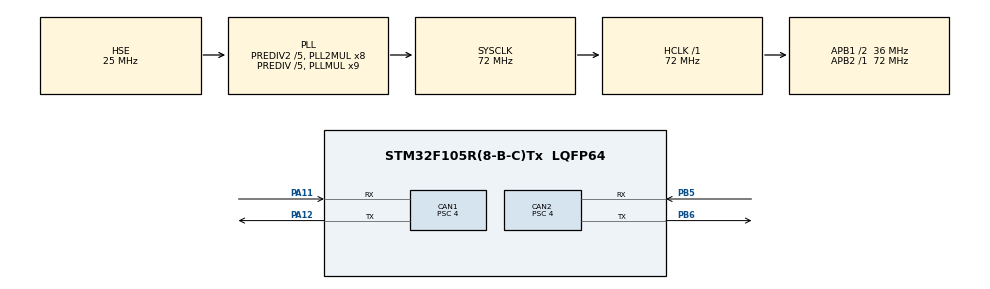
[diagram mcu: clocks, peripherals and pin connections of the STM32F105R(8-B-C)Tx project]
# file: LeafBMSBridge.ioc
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CAN1.ABOM=ENABLE
CAN1.AWUM=ENABLE
CAN1.BS1=CAN_BS1_15TQ
CAN1.BS2=CAN_BS2_2TQ
CAN1.CalculateBaudRate=500000
CAN1.CalculateTimeBit=2000
CAN1.CalculateTimeQuantum=111.11111111111111
CAN1.Mode=CAN_MODE_NORMAL
CAN1.NART=ENABLE
CAN1.Prescaler=4
CAN1.TXFP=ENABLE
CAN2.ABOM=ENABLE
CAN2.AWUM=ENABLE
CAN2.BS1=CAN_BS1_15TQ
CAN2.BS2=CAN_BS2_2TQ
CAN2.CalculateBaudRate=500000
CAN2.CalculateTimeBit=2000
CAN2.CalculateTimeQuantum=111.11111111111111
CAN2.Mode=CAN_MODE_NORMAL
CAN2.NART=ENABLE
CAN2.Prescaler=4
CAN2.TXFP=ENABLE
FREERTOS.Queues01=ProcessingVCMCanMessageQueue,4,CanMessage_t,0,Static,ProcessingVCMCanMessageQueueBuffer,ProcessingVCMCanMessageQueueControlBlock;ToBMSCanMessageQueue,4,CanMessage_t,0,Static,ToBMSCanMessageQueueBuffer,ToBMSCanMessageQueueControlBlock;ToVCMCanMessageQueue,4,CanMessage_t,0,Static,ToVCMCanMessageQueueBuffer,ToVCMCanMessageQueueControlBlock;ProcessingBMSCanMessageQueue,10,CanMessage_t,0,Static,ProcessingBMSCanMessageQueueBuffer,ProcessingBMSCanMessageQueueControlBlock
FREERTOS.Tasks01=defaultTask,24,128,StartDefaultTask,Default,NULL,Dynamic,NULL,NULL;SendToBMSCanMessageTask,40,128,SendToBMSCanMessageTaskHandler,As external,NULL,Dynamic,NULL,NULL;SendToVCMCanMessageTask,40,128,SendToVCMCanMessageTaskHandler,As external,NULL,Dynamic,NULL,NULL;ProcessingVCMCanMessageTask,40,128,ProcessingVCMCanMessageTaskHandler,As external,NULL,Dynamic,NULL,NULL;ProcessingBMSCanMessageTask,32,128,ProcessingBMSCanMessageTaskHandler,As external,NULL,Dynamic,NULL,NULL;SendBmbServiceCellVoltageRequestTask,24,128,SendBmbServiceCellVoltageRequestTaskHandler,As external,NULL,Dynamic,NULL,NULL;SendBmbServiceTemperatureRequestTask,8,128,SendBmbServiceTemperatureRequestTaskHandler,As external,NULL,Dynamic,NULL,NULL
FREERTOS.configMAX_TASK_NAME_LEN=100
FREERTOS.configTOTAL_HEAP_SIZE=10240
Mcu.Family=STM32F1
Mcu.Name=STM32F105R(8-B-C)Tx
Mcu.Package=LQFP64
NVIC.CAN1_RX0_IRQn=true\:5\:0\:false\:false\:true\:true\:true\:true\:true
NVIC.CAN1_RX1_IRQn=true\:5\:0\:false\:false\:true\:true\:true\:true\:true
NVIC.CAN1_SCE_IRQn=true\:5\:0\:false\:false\:true\:true\:true\:true\:true
NVIC.CAN2_RX0_IRQn=true\:5\:0\:false\:false\:true\:true\:true\:true\:true
NVIC.CAN2_RX1_IRQn=true\:5\:0\:false\:false\:true\:true\:true\:true\:true
NVIC.CAN2_SCE_IRQn=true\:5\:0\:false\:false\:true\:true\:true\:true\:true
NVIC.PriorityGroup=NVIC_PRIORITYGROUP_4
NVIC.TIM2_IRQn=true\:15\:0\:false\:false\:true\:false\:false\:true\:true
NVIC.TimeBase=TIM2_IRQn
NVIC.TimeBaseIP=TIM2
PA11.Mode=CAN_Activate
PA11.Signal=CAN1_RX
PA12.Mode=CAN_Activate
PA12.Signal=CAN1_TX
PA13.Mode=Serial_Wire
PA13.Signal=SYS_JTMS-SWDIO
PA14.Mode=Serial_Wire
PA14.Signal=SYS_JTCK-SWCLK
PB5.Mode=CAN_Activate
PB5.Signal=CAN2_RX
PB6.Mode=CAN_Activate
PB6.Signal=CAN2_TX
PD0-OSC_IN.Mode=HSE-External-Oscillator
PD0-OSC_IN.Signal=RCC_OSC_IN
PD1-OSC_OUT.Mode=HSE-External-Oscillator
PD1-OSC_OUT.Signal=RCC_OSC_OUT
ProjectManager.HeapSize=0x200
ProjectManager.StackSize=0x400
ProjectManager.TargetToolchain=CMake
RCC.AHBFreq_Value=72000000
RCC.APB1CLKDivider=RCC_HCLK_DIV2
RCC.APB1Freq_Value=36000000
RCC.APB1TimFreq_Value=72000000
RCC.APB2Freq_Value=72000000
RCC.APB2TimFreq_Value=72000000
RCC.HCLKFreq_Value=72000000
RCC.HSEDivPLL=RCC_HSE_PREDIV_DIV5
RCC.HSE_VALUE=25000000
RCC.PLLMUL=RCC_PLL_MUL9
RCC.PLLSourceVirtual=RCC_PLLSOURCE_HSE
RCC.Prediv1Source=RCC_PREDIV1_SOURCE_PLL2
RCC.Prediv2=RCC_HSE_PREDIV2_DIV5
RCC.SYSCLKFreq_VALUE=72000000
RCC.SYSCLKSource=RCC_SYSCLKSOURCE_PLLCLK
RCC.USBFreq_Value=48000000
VP_FREERTOS_VS_CMSIS_V2.Mode=CMSIS_V2
VP_RTC_VS_RTC_Activate.Mode=RTC_Enabled
VP_SYS_VS_tim2.Mode=TIM2
board=custom

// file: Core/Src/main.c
/* USER CODE BEGIN Header */
/**
 ******************************************************************************
 * @file           : main.c
 * @brief          : Main program body
 ******************************************************************************
 * @attention
 *
 * Copyright (c) 2025 STMicroelectronics.
 * All rights reserved.
 *
 * This software is licensed under terms that can be found in the LICENSE file
 * in the root directory of this software component.
 * If no LICENSE file comes with this software, it is provided AS-IS.
 *
 ******************************************************************************
 */
/* USER CODE END Header */
#include "main.h"
#include "cmsis_os.h"
#include "can.h"
#include "rtc.h"
#include "gpio.h"

/* USER CODE BEGIN Includes */
#include "bridge.h"
#include "ev.h"
/* USER CODE END Includes */

/* USER CODE BEGIN PTD */
// void vTaskTemp(void *pvParameters)
//   {

//     CAN_TxHeaderTypeDef header;
//     uint32_t TxMailbox = 0;

//     header.StdId = 0x1DB;
//     header.ExtId = 0;
//     header.IDE = CAN_ID_STD;
//     header.RTR = CAN_RTR_DATA;
//     header.DLC = 8;
//     header.TransmitGlobalTime = DISABLE;

//     // FF60C56A6300025E
//     uint8_t data[8] = {0xFF, 0x60, 0xC5, 0x6A, 0x63, 0x00, 0x02, 0x5E};

//     while (1)
//     {
//       vTaskDelay(pdMS_TO_TICKS(1000));

//       HAL_CAN_AddTxMessage(&hcan1, &header, data, &TxMailbox);
//     }

//   }
/* USER CODE END PTD */

void SystemClock_Config(void);
void MX_FREERTOS_Init(void);

int main(void)
{

  /* MCU Configuration--------------------------------------------------------*/

  /* Reset of all peripherals, Initializes the Flash interface and the Systick. */
  HAL_Init();

  /* Configure the system clock */
  SystemClock_Config();

  /* Initialize all configured peripherals */
  MX_GPIO_Init();
  MX_CAN1_Init();
  MX_CAN2_Init();
  MX_RTC_Init();
  /* USER CODE BEGIN 2 */
  initEv();
  startBridge();
  /* USER CODE END 2 */

  /* Init scheduler */
  osKernelInitialize();

  /* Call init function for freertos objects (in cmsis_os2.c) */
  MX_FREERTOS_Init();

  /* Start scheduler */
  osKernelStart();

  /* We should never get here as control is now taken by the scheduler */

  /* Infinite loop */
  while (1)
  {

  }
}

void SystemClock_Config(void)
{
  RCC_OscInitTypeDef RCC_OscInitStruct = {0};
  RCC_ClkInitTypeDef RCC_ClkInitStruct = {0};
  RCC_PeriphCLKInitTypeDef PeriphClkInit = {0};

  /** Initializes the RCC Oscillators according to the specified parameters
  * in the RCC_OscInitTypeDef structure.
  */
  RCC_OscInitStruct.OscillatorType = RCC_OSCILLATORTYPE_LSI|RCC_OSCILLATORTYPE_HSE;
  RCC_OscInitStruct.HSEState = RCC_HSE_ON;
  RCC_OscInitStruct.HSEPredivValue = RCC_HSE_PREDIV_DIV5;
  RCC_OscInitStruct.HSIState = RCC_HSI_ON;
  RCC_OscInitStruct.LSIState = RCC_LSI_ON;
  RCC_OscInitStruct.Prediv1Source = RCC_PREDIV1_SOURCE_PLL2;
  RCC_OscInitStruct.PLL.PLLState = RCC_PLL_ON;
  RCC_OscInitStruct.PLL.PLLSource = RCC_PLLSOURCE_HSE;
  RCC_OscInitStruct.PLL.PLLMUL = RCC_PLL_MUL9;
  RCC_OscInitStruct.PLL2.PLL2State = RCC_PLL2_ON;
  RCC_OscInitStruct.PLL2.PLL2MUL = RCC_PLL2_MUL8;
  RCC_OscInitStruct.PLL2.HSEPrediv2Value = RCC_HSE_PREDIV2_DIV5;
  if (HAL_RCC_OscConfig(&RCC_OscInitStruct) != HAL_OK)
  {
    Error_Handler();
  }

  /** Initializes the CPU, AHB and APB buses clocks
  */
  RCC_ClkInitStruct.ClockType = RCC_CLOCKTYPE_HCLK|RCC_CLOCKTYPE_SYSCLK
                              |RCC_CLOCKTYPE_PCLK1|RCC_CLOCKTYPE_PCLK2;
  RCC_ClkInitStruct.SYSCLKSource = RCC_SYSCLKSOURCE_PLLCLK;
  RCC_ClkInitStruct.AHBCLKDivider = RCC_SYSCLK_DIV1;
  RCC_ClkInitStruct.APB1CLKDivider = RCC_HCLK_DIV2;
  RCC_ClkInitStruct.APB2CLKDivider = RCC_HCLK_DIV1;

  if (HAL_RCC_ClockConfig(&RCC_ClkInitStruct, FLASH_LATENCY_2) != HAL_OK)
  {
    Error_Handler();
  }
  PeriphClkInit.PeriphClockSelection = RCC_PERIPHCLK_RTC;
  PeriphClkInit.RTCClockSelection = RCC_RTCCLKSOURCE_LSI;
  if (HAL_RCCEx_PeriphCLKConfig(&PeriphClkInit) != HAL_OK)
  {
    Error_Handler();
  }

  /** Configure the Systick interrupt time
  */
  __HAL_RCC_PLLI2S_ENABLE();
}

void HAL_TIM_PeriodElapsedCallback(TIM_HandleTypeDef *htim)
{
  if (htim->Instance == TIM2)
  {
    HAL_IncTick();
  }
}

void Error_Handler(void)
{
  /* USER CODE BEGIN Error_Handler_Debug */
  /* User can add his own implementation to report the HAL error return state */
  __disable_irq();
  // Attempt to reset the system
  NVIC_SystemReset();
  while (1)
  {
  }
  /* USER CODE END Error_Handler_Debug */
}

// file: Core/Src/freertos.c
/* USER CODE BEGIN Header */
/**
 ******************************************************************************
 * File Name          : freertos.c
 * Description        : Code for freertos applications
 ******************************************************************************
 * @attention
 *
 * Copyright (c) 2025 STMicroelectronics.
 * All rights reserved.
 *
 * This software is licensed under terms that can be found in the LICENSE file
 * in the root directory of this software component.
 * If no LICENSE file comes with this software, it is provided AS-IS.
 *
 ******************************************************************************
 */
/* USER CODE END Header */

#include "FreeRTOS.h"
#include "task.h"
#include "main.h"
#include "cmsis_os.h"

/* USER CODE BEGIN Includes */
#include "bridge.h"
/* USER CODE END Includes */

typedef StaticQueue_t osStaticMessageQDef_t;
/* USER CODE BEGIN PTD */
extern CAN_HandleTypeDef *bmsCanBus;
extern CAN_HandleTypeDef *vcmCanBus;
extern CAN_HandleTypeDef hcan1;
extern CAN_HandleTypeDef hcan2;
/* USER CODE END PTD */

/* Definitions for defaultTask */
osThreadId_t defaultTaskHandle;
const osThreadAttr_t defaultTask_attributes = {
  .name = "defaultTask",
  .stack_size = 128 * 4,
  .priority = (osPriority_t) osPriorityNormal,
};
/* Definitions for SendToBMSCanMessageTask */
osThreadId_t SendToBMSCanMessageTaskHandle;
const osThreadAttr_t SendToBMSCanMessageTask_attributes = {
  .name = "SendToBMSCanMessageTask",
  .stack_size = 128 * 4,
  .priority = (osPriority_t) osPriorityHigh,
};
/* Definitions for SendToVCMCanMessageTask */
osThreadId_t SendToVCMCanMessageTaskHandle;
const osThreadAttr_t SendToVCMCanMessageTask_attributes = {
  .name = "SendToVCMCanMessageTask",
  .stack_size = 128 * 4,
  .priority = (osPriority_t) osPriorityHigh,
};
/* Definitions for ProcessingVCMCanMessageTask */
osThreadId_t ProcessingVCMCanMessageTaskHandle;
const osThreadAttr_t ProcessingVCMCanMessageTask_attributes = {
  .name = "ProcessingVCMCanMessageTask",
  .stack_size = 128 * 4,
  .priority = (osPriority_t) osPriorityHigh,
};
/* Definitions for ProcessingBMSCanMessageTask */
osThreadId_t ProcessingBMSCanMessageTaskHandle;
const osThreadAttr_t ProcessingBMSCanMessageTask_attributes = {
  .name = "ProcessingBMSCanMessageTask",
  .stack_size = 128 * 4,
  .priority = (osPriority_t) osPriorityAboveNormal,
};
/* Definitions for SendBmbServiceCellVoltageRequestTask */
osThreadId_t SendBmbServiceCellVoltageRequestTaskHandle;
const osThreadAttr_t SendBmbServiceCellVoltageRequestTask_attributes = {
  .name = "SendBmbServiceCellVoltageRequestTask",
  .stack_size = 128 * 4,
  .priority = (osPriority_t) osPriorityNormal,
};
/* Definitions for SendBmbServiceTemperatureRequestTask */
osThreadId_t SendBmbServiceTemperatureRequestTaskHandle;
const osThreadAttr_t SendBmbServiceTemperatureRequestTask_attributes = {
  .name = "SendBmbServiceTemperatureRequestTask",
  .stack_size = 128 * 4,
  .priority = (osPriority_t) osPriorityLow,
};
/* Definitions for ProcessingVCMCanMessageQueue */
osMessageQueueId_t ProcessingVCMCanMessageQueueHandle;
uint8_t ProcessingVCMCanMessageQueueBuffer[ 4 * sizeof( CanMessage_t ) ];
osStaticMessageQDef_t ProcessingVCMCanMessageQueueControlBlock;
const osMessageQueueAttr_t ProcessingVCMCanMessageQueue_attributes = {
  .name = "ProcessingVCMCanMessageQueue",
  .cb_mem = &ProcessingVCMCanMessageQueueControlBlock,
  .cb_size = sizeof(ProcessingVCMCanMessageQueueControlBlock),
  .mq_mem = &ProcessingVCMCanMessageQueueBuffer,
  .mq_size = sizeof(ProcessingVCMCanMessageQueueBuffer)
};
/* Definitions for ToBMSCanMessageQueue */
osMessageQueueId_t ToBMSCanMessageQueueHandle;
uint8_t ToBMSCanMessageQueueBuffer[ 4 * sizeof( CanMessage_t ) ];
osStaticMessageQDef_t ToBMSCanMessageQueueControlBlock;
const osMessageQueueAttr_t ToBMSCanMessageQueue_attributes = {
  .name = "ToBMSCanMessageQueue",
  .cb_mem = &ToBMSCanMessageQueueControlBlock,
  .cb_size = sizeof(ToBMSCanMessageQueueControlBlock),
  .mq_mem = &ToBMSCanMessageQueueBuffer,
  .mq_size = sizeof(ToBMSCanMessageQueueBuffer)
};
/* Definitions for ToVCMCanMessageQueue */
osMessageQueueId_t ToVCMCanMessageQueueHandle;
uint8_t ToVCMCanMessageQueueBuffer[ 4 * sizeof( CanMessage_t ) ];
osStaticMessageQDef_t ToVCMCanMessageQueueControlBlock;
const osMessageQueueAttr_t ToVCMCanMessageQueue_attributes = {
  .name = "ToVCMCanMessageQueue",
  .cb_mem = &ToVCMCanMessageQueueControlBlock,
  .cb_size = sizeof(ToVCMCanMessageQueueControlBlock),
  .mq_mem = &ToVCMCanMessageQueueBuffer,
  .mq_size = sizeof(ToVCMCanMessageQueueBuffer)
};
/* Definitions for ProcessingBMSCanMessageQueue */
osMessageQueueId_t ProcessingBMSCanMessageQueueHandle;
uint8_t ProcessingBMSCanMessageQueueBuffer[ 10 * sizeof( CanMessage_t ) ];
osStaticMessageQDef_t ProcessingBMSCanMessageQueueControlBlock;
const osMessageQueueAttr_t ProcessingBMSCanMessageQueue_attributes = {
  .name = "ProcessingBMSCanMessageQueue",
  .cb_mem = &ProcessingBMSCanMessageQueueControlBlock,
  .cb_size = sizeof(ProcessingBMSCanMessageQueueControlBlock),
  .mq_mem = &ProcessingBMSCanMessageQueueBuffer,
  .mq_size = sizeof(ProcessingBMSCanMessageQueueBuffer)
};

void StartDefaultTask(void *argument);
extern void SendToBMSCanMessageTaskHandler(void *argument);
extern void SendToVCMCanMessageTaskHandler(void *argument);
extern void ProcessingVCMCanMessageTaskHandler(void *argument);
extern void ProcessingBMSCanMessageTaskHandler(void *argument);
extern void SendBmbServiceCellVoltageRequestTaskHandler(void *argument);
extern void SendBmbServiceTemperatureRequestTaskHandler(void *argument);

void MX_FREERTOS_Init(void); /* (MISRA C 2004 rule 8.1) */

void MX_FREERTOS_Init(void) {

  /* Create the queue(s) */
  /* creation of ProcessingVCMCanMessageQueue */
  ProcessingVCMCanMessageQueueHandle = osMessageQueueNew (4, sizeof(CanMessage_t), &ProcessingVCMCanMessageQueue_attributes);

  /* creation of ToBMSCanMessageQueue */
  ToBMSCanMessageQueueHandle = osMessageQueueNew (4, sizeof(CanMessage_t), &ToBMSCanMessageQueue_attributes);

  /* creation of ToVCMCanMessageQueue */
  ToVCMCanMessageQueueHandle = osMessageQueueNew (4, sizeof(CanMessage_t), &ToVCMCanMessageQueue_attributes);

  /* creation of ProcessingBMSCanMessageQueue */
  ProcessingBMSCanMessageQueueHandle = osMessageQueueNew (10, sizeof(CanMessage_t), &ProcessingBMSCanMessageQueue_attributes);

  /* Create the thread(s) */
  /* creation of defaultTask */
  defaultTaskHandle = osThreadNew(StartDefaultTask, NULL, &defaultTask_attributes);

  /* creation of SendToBMSCanMessageTask */
  SendToBMSCanMessageTaskHandle = osThreadNew(SendToBMSCanMessageTaskHandler, NULL, &SendToBMSCanMessageTask_attributes);

  /* creation of SendToVCMCanMessageTask */
  SendToVCMCanMessageTaskHandle = osThreadNew(SendToVCMCanMessageTaskHandler, NULL, &SendToVCMCanMessageTask_attributes);

  /* creation of ProcessingVCMCanMessageTask */
  ProcessingVCMCanMessageTaskHandle = osThreadNew(ProcessingVCMCanMessageTaskHandler, NULL, &ProcessingVCMCanMessageTask_attributes);

  /* creation of ProcessingBMSCanMessageTask */
  ProcessingBMSCanMessageTaskHandle = osThreadNew(ProcessingBMSCanMessageTaskHandler, NULL, &ProcessingBMSCanMessageTask_attributes);

  /* creation of SendBmbServiceCellVoltageRequestTask */
  SendBmbServiceCellVoltageRequestTaskHandle = osThreadNew(SendBmbServiceCellVoltageRequestTaskHandler, NULL, &SendBmbServiceCellVoltageRequestTask_attributes);

  /* creation of SendBmbServiceTemperatureRequestTask */
  SendBmbServiceTemperatureRequestTaskHandle = osThreadNew(SendBmbServiceTemperatureRequestTaskHandler, NULL, &SendBmbServiceTemperatureRequestTask_attributes);

}

void StartDefaultTask(void *argument)
{
  /* USER CODE BEGIN StartDefaultTask */
  CAN_TxHeaderTypeDef header;
  uint32_t TxMailbox;

  header.StdId = 0x1DB;
  header.ExtId = 0;
  header.IDE = CAN_ID_STD;
  header.RTR = CAN_RTR_DATA;
  header.DLC = 8;
  header.TransmitGlobalTime = DISABLE;

  // FF60C56A6300025E
  uint8_t data[8] = {0xFF, 0x60, 0xC5, 0x6A, 0x63, 0x00, 0x02, 0x5E};

  for (;;)
  {
    // HAL_CAN_AddTxMessage(vcmCanBus, &header, data, &TxMailbox);

    // osDelay(2000);
  }
  /* USER CODE END StartDefaultTask */
}
